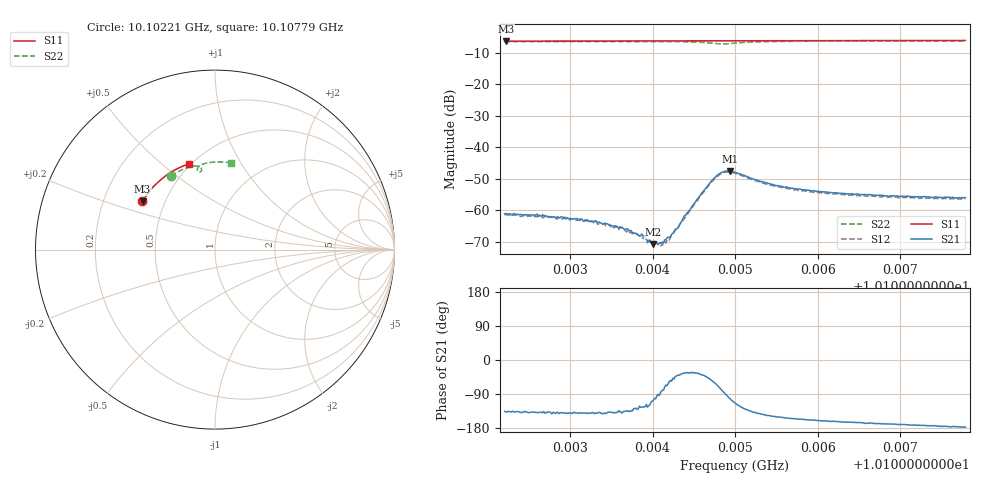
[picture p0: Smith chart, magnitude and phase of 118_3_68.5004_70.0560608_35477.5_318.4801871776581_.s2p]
#  HZ  S  RI  R  50.00
! Rohde & Schwarz Vector Network Analyzer
! Rohde-Schwarz,ZNB20-2Port,1311601062101988,3.16
! Created: UTC 3/20/2024, 5:09:00 PM
! freq[Hz]  re:S11  im:S11  re:S21  im:S21  re:S12  im:S12  re:S22  im:S22
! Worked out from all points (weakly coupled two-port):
!   401 points, 10.10221 GHz to 10.10779 GHz, reference 50 ohm
!   highest |S21| = -47.44 dB at 10.10494 GHz (marker M1); lowest = -70.7 dB at 10.10401 GHz (marker M2)
!   lowest |S11| = -6.3 dB at 10.10222 GHz (marker M3), VSWR 2.89, Z = 18.7 + j13.2 ohm
!   |S11| at or under -10 dB: nowhere
!   |S22| runs from -7.1 to -6.2 dB; largest |S21 - S12| = 0.00044
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1.010221e10  -0.4044 0.2689  -0.000626 -0.000618  -0.000564 -0.000651  -0.2446 0.4105
1.0102224e10  -0.4038 0.2695  -0.000652 -0.000616  -0.000555 -0.000647  -0.2438 0.4111
1.0102572e10  -0.3926 0.2876  -0.000619 -0.000556  -0.000536 -0.000595  -0.2245 0.423
1.0103144e10  -0.3724 0.316  -0.000559 -0.000473  -0.000495 -0.000462  -0.1909 0.4408
1.0103632e10  -0.3536 0.3387  -0.00041 -0.000347  -0.000356 -0.000394  -0.1605 0.4538
1.0103715e10  -0.3504 0.3427  -0.000333 -0.00034  -0.000266 -0.000342  -0.1548 0.4558
1.0103827e10  -0.3458 0.3478  -0.000254 -0.000314  -0.00026 -0.000317  -0.1473 0.4583
1.0103897e10  -0.3428 0.3507  -0.000219 -0.000324  -0.000173 -0.000314  -0.1423 0.4598
1.0103966e10  -0.3399 0.3537  -0.000165 -0.000296  -0.000125 -0.000292  -0.1375 0.4612
1.0104008e10  -0.3382 0.3556  -8.77e-05 -0.000277  -4.98e-05 -0.000301  -0.1343 0.4618
1.0104078e10  -0.3352 0.3586  -1.94e-05 -0.000294  1.33e-05 -0.000288  -0.1291 0.4632
1.0104134e10  -0.3328 0.3611  5.66e-05 -0.000299  0.000116 -0.000296  -0.125 0.464
1.0104231e10  -0.3288 0.3653  0.000234 -0.000346  0.00028 -0.000283  -0.117 0.4652
1.0104566e10  -0.314 0.3792  0.00134 -0.000984  0.00138 -0.000832  -0.0857 0.4611
1.0104747e10  -0.3056 0.3863  0.00168 -0.0028  0.00184 -0.00254  -0.0746 0.4428
1.0104845e10  -0.301 0.3901  0.000615 -0.00401  0.000952 -0.00376  -0.0826 0.4326
1.0104942e10  -0.2967 0.3937  -0.00095 -0.00414  -0.00056 -0.00401  -0.0947 0.4363
1.0104998e10  -0.2942 0.3959  -0.00162 -0.00371  -0.00119 -0.00371  -0.0978 0.4426
1.0105472e10  -0.2714 0.4136  -0.00218 -0.00132  -0.00198 -0.00143  -0.0694 0.4758
1.0105932e10  -0.2484 0.429  -0.00191 -0.000738  -0.00176 -0.000856  -0.0359 0.4841
1.0106866e10  -0.1989 0.4565  -0.00165 -0.000322  -0.00157 -0.000474  0.0268 0.4885
1.0107787e10  -0.1474 0.4775  -0.0016 -7.27e-05  -0.00151 -0.000245  0.0864 0.4839
